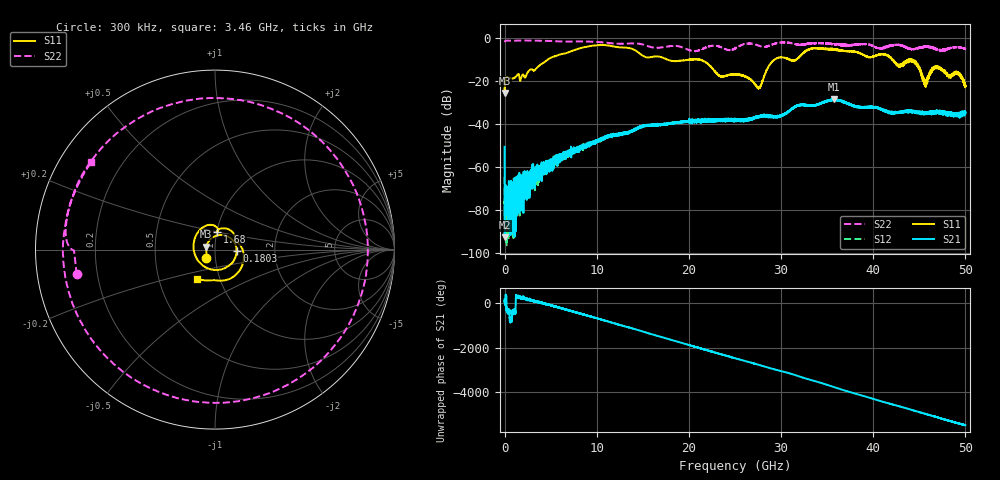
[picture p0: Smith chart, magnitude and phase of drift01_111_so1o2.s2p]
!Created with skrf (http://scikit-rf.org).
# Hz S RI R 50.0
!freq ReS11 ImS11 ReS21 ImS21 ReS12 ImS12 ReS22 ImS22
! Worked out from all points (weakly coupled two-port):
!   10001 points, 300 kHz to 50 GHz, reference 50 ohm
!   highest |S21| = -28.68 dB at 35.74 GHz (marker M1); lowest = -92.8 dB at 30.3 MHz (marker M2)
!   lowest |S11| = -25.8 dB at 5.3 MHz (marker M3), VSWR 1.11, Z = 45.3 + j1.4 ohm
!   |S11| at or under -10 dB: start of sweep to 4.771 GHz; 17.52 GHz to 29.37 GHz (11.86 GHz wide, 50.6 % of centre); 43.99 GHz to end of sweep (the widest 3 of 10)
!   |S22| runs from -6.4 to -1.4 dB; largest |S21 - S12| = 0.0042
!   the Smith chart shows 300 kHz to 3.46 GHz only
!   S11 on the Smith chart (normalised r, x): 300 kHz: 0.90, -0.08; 180.3 MHz: 1.27, -0.01; 1.68 GHz: 1.01, +0.20; 3.46 GHz: 0.78, -0.26
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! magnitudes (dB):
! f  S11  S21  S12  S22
! 300 kHz  -23.7  -50.8  -64.9  -2.1
! 5.3 MHz  -25.8  -74.9  -91.2  -2.1
! 30.3 MHz  -22.7  -92.8  -79.3  -1.8
! 180.3 MHz  -18.4  -69.0  -87.3  -1.4
! 775.3 MHz  -19.0  -74.5  -70.0  -1.5
! 1.68 GHz  -20.1  -66.1  -71.9  -1.4
! 3.46 GHz  -14.3  -61.1  -64.5  -1.5
! 8.335 GHz  -4.8  -51.6  -51.4  -1.8
! 16.67 GHz  -8.8  -40.6  -40.4  -4.8
! 21.21 GHz  -10.3  -38.8  -38.1  -5.7
! 25 GHz  -17.1  -38.2  -38.3  -5.0
! 27.59 GHz  -23.7  -36.6  -36.8  -3.8
! 29.28 GHz  -10.3  -37.0  -37.2  -2.9
! 31.47 GHz  -10.7  -32.2  -32.4  -2.9
! 33.34 GHz  -5.1  -31.7  -31.6  -2.7
! 35.74 GHz  -5.4  -28.7  -28.9  -3.0
! 41.67 GHz  -8.7  -34.7  -34.9  -4.1
! 42.79 GHz  -12.9  -34.7  -34.9  -3.6
! 44.41 GHz  -11.6  -34.5  -34.3  -5.3
! 45.63 GHz  -21.8  -35.5  -35.0  -4.3
! 46.95 GHz  -13.3  -34.3  -34.7  -5.4
! 50 GHz  -22.4  -35.3  -34.6  -5.4
